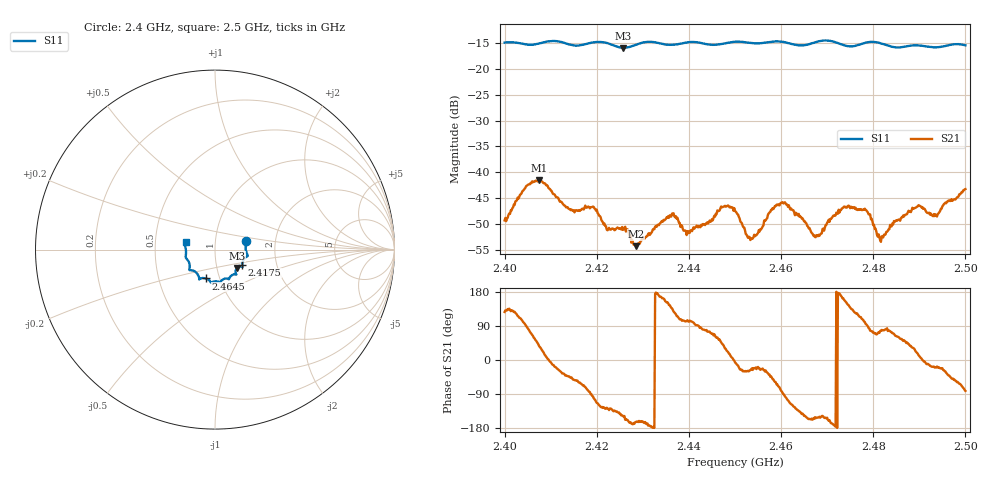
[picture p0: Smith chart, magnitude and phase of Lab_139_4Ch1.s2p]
# Hz S RI R 50
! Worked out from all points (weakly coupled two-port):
!   601 points, 2.4 GHz to 2.5 GHz, reference 50 ohm
!   highest |S21| = -41.60 dB at 2.4075 GHz (marker M1); lowest = -54.3 dB at 2.4285 GHz (marker M2)
!   lowest |S11| = -15.9 dB at 2.4257 GHz (marker M3), VSWR 1.38, Z = 62.5 - j13.1 ohm
!   |S11| at or under -10 dB: start of sweep to end of sweep
!   S12 and S22 are empty: the file has one direction only
!   S11 on the Smith chart (normalised r, x): 2.4 GHz: 1.41, +0.14; 2.4175 GHz: 1.34, -0.23; 2.4645 GHz: 0.86, -0.28; 2.5 GHz: 0.72, +0.06
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2.4e9  0.1728 0.0491  -0.00205 0.00274  0 0  0 0
2.4075e9  0.1754 -0.0157  0.0067 0.00494  0 0  0 0
2.416667e9  0.1528 -0.0739  0.00197 -0.00385  0 0  0 0
2.4175e9  0.152 -0.0832  0.00155 -0.00449  0 0  0 0
2.425667e9  0.1229 -0.1021  -0.00232 -0.00149  0 0  0 0
2.4285e9  0.1146 -0.1275  -0.00184 -0.000547  0 0  0 0
2.433333e9  0.113 -0.1373  -0.00306 0.000412  0 0  0 0
2.436667e9  0.0895 -0.1462  -0.00247 0.00315  0 0  0 0
2.44e9  0.0791 -0.1632  -0.000511 0.00263  0 0  0 0
2.447333e9  0.0386 -0.1705  0.00347 0.00302  0 0  0 0
2.45e9  0.0287 -0.181  0.0042 -0.000441  0 0  0 0
2.453333e9  0.0152 -0.1776  0.00198 -0.000976  0 0  0 0
2.459833e9  -0.0239 -0.1826  0.00111 -0.00486  0 0  0 0
2.4645e9  -0.0517 -0.1606  -0.00283 -0.00216  0 0  0 0
2.466667e9  -0.0757 -0.1595  -0.00233 -0.00111  0 0  0 0
2.474333e9  -0.1002 -0.1328  -0.00387 0.0024  0 0  0 0
2.478667e9  -0.1395 -0.1147  -9.92e-05 0.00418  0 0  0 0
2.481333e9  -0.1425 -0.1073  0.000735 0.00222  0 0  0 0
2.483333e9  -0.1408 -0.09  0.00056 0.00275  0 0  0 0
2.489667e9  -0.1634 -0.0422  0.00448 0.00133  0 0  0 0
2.493833e9  -0.1618 -0.00402  0.00356 -0.0011  0 0  0 0
2.5e9  -0.1637 0.0435  0.00102 -0.00679  0 0  0 0
